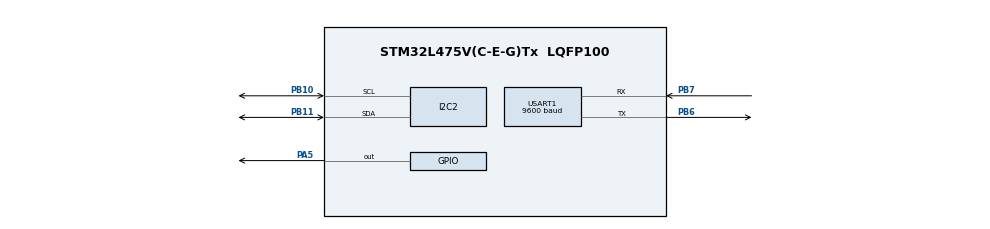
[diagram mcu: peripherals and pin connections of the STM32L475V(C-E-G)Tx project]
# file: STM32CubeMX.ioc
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I2C2.Timing=0x00100D14
Mcu.Family=STM32L4
Mcu.Name=STM32L475V(C-E-G)Tx
Mcu.Package=LQFP100
NVIC.PriorityGroup=NVIC_PRIORITYGROUP_4
PA5.Signal=GPIO_Output
PB10.Mode=I2C
PB10.Signal=I2C2_SCL
PB11.Mode=I2C
PB11.Signal=I2C2_SDA
PB6.Mode=Asynchronous
PB6.Signal=USART1_TX
PB7.Mode=Asynchronous
PB7.Signal=USART1_RX
ProjectManager.HeapSize=0x200
ProjectManager.StackSize=0x400
ProjectManager.TargetToolchain=MDK-ARM V5
RCC.HSE_VALUE=8000000
RCC.HSI_VALUE=16000000
RCC.LSE_VALUE=32768
RCC.MSI_VALUE=4000000
RCC.VCOOutputFreq_Value=32000000
USART1.BaudRate=9600
USART1.VirtualMode-Asynchronous=VM_ASYNC
board=custom

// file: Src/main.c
/* USER CODE BEGIN Header */
/**
  ******************************************************************************
  * @file           : main.c
  * @brief          : Main program body
  ******************************************************************************
  * @attention
  *
  * Copyright (c) 2025 STMicroelectronics.
  * All rights reserved.
  *
  * This software is licensed under terms that can be found in the LICENSE file
  * in the root directory of this software component.
  * If no LICENSE file comes with this software, it is provided AS-IS.
  *
  ******************************************************************************
  */
/* USER CODE END Header */
#include "main.h"

/* USER CODE BEGIN Includes */
#include "stdio.h"
#include "string.h"
/* USER CODE END Includes */

/* USER CODE BEGIN PD */
#define HTS221_ADDRESS 0xBE
#define HTS221_TEMP_OUT_L 0x2A  // Temperature output register (low byte)
#define HTS221_TEMP_OUT_H 0x2B  // Temperature output register (high byte)
#define HTS221_HUMID_OUT_L 0x28 // Hummidity output register (low byte)
#define HTS221_HUMID_OUT_H 0x29 // Hummidity output register (high byte)
#define HTS221_CTRL_REG1 0x20   // Control register for power on
#define HTS221_STATUS_REG 0x27  // Status register for data readiness

#define LPS22HB_ADDRESS 0xBA
#define LPS22HB_CTRL_REG1 0x10
#define LPS22HB_PRESS_OUT_XL 0x28
#define LPS22HB_PRESS_OUT_L 0x29
#define LPS22HB_PRESS_OUT_H 0x2A

#define LIS3MDL_ADDRESS 0x3C
#define LIS3MDL_CTRL_REG1 0x20 // Control register 1 for initialization
#define LIS3MDL_CTRL_REG2 0x21 // Control register 2 for sensitivity adjustment
#define LIS3MDL_CTRL_REG3 0x22 // Control register 3 for power mode
#define LIS3MDL_OUT_X_L 0x28   // X-axis magnetic field data (low byte)
#define LIS3MDL_OUT_X_H 0x29   // X-axis magnetic field data (high byte)
#define LIS3MDL_OUT_Y_L 0x2A   // Y-axis magnetic field data (low byte)
#define LIS3MDL_OUT_Y_H 0x2B   // Y-axis magnetic field data (high byte)
#define LIS3MDL_OUT_Z_L 0x2C   // Z-axis magnetic field data (low byte)
#define LIS3MDL_OUT_Z_H 0x2D   // Z-axis magnetic field data (high byte)

#define LSM6DSL_ADDRESS 0xD4
#define LSM6DSL_CTRL1_XL 0x10 // Control register for accelerometer
#define LSM6DSL_CTRL2_G  0x11 // Control register for gyroscope
#define LSM6DSL_OUTX_L_XL 0x28 // Accelerometer X-axis low byte
#define LSM6DSL_OUTX_H_XL 0x29 // Accelerometer X-axis high byte
#define LSM6DSL_OUTY_L_XL 0x2A // Accelerometer Y-axis low byte
#define LSM6DSL_OUTY_H_XL 0x2B // Accelerometer Y-axis high byte
#define LSM6DSL_OUTZ_L_XL 0x2C // Accelerometer Z-axis low byte
#define LSM6DSL_OUTZ_H_XL 0x2D // Accelerometer Z-axis high byte
#define LSM6DSL_OUTX_L_G  0x22 // Gyroscope X-axis low byte
#define LSM6DSL_OUTX_H_G  0x23 // Gyroscope X-axis high byte
#define LSM6DSL_OUTY_L_G  0x24 // Gyroscope Y-axis low byte
#define LSM6DSL_OUTY_H_G  0x25 // Gyroscope Y-axis high byte
#define LSM6DSL_OUTZ_L_G  0x26 // Gyroscope Z-axis low byte
#define LSM6DSL_OUTZ_H_G  0x27 // Gyroscope Z-axis high byte

float T0_degC, T1_degC;
int16_t T0_OUT, T1_OUT;
float H0_rH, H1_rH;
int16_t H0_T0_OUT, H1_T0_OUT;
/* USER CODE END PD */

I2C_HandleTypeDef hi2c2;

UART_HandleTypeDef huart1;

/* USER CODE BEGIN PV */
void HTS221_Init(void);
void LPS22HB_Init(void);
void LIS3MDL_init(void);
void LSM6DSL_init(void);
void HTS221_Read_Calibration(void);
void HTS221_Read_Temperature(void);
void HTS221_Read_Humidity(void);
void LPS22HB_Read_Pressure(void);
void LIS3MDL_Read_Magnetic_Field(void);
void LSM6DSL_Read_Accel_Gyro(void);
/* USER CODE END PV */

void SystemClock_Config(void);
static void MX_GPIO_Init(void);
static void MX_I2C2_Init(void);
static void MX_USART1_UART_Init(void);

int main(void)
{

  /* MCU Configuration--------------------------------------------------------*/

  /* Reset of all peripherals, Initializes the Flash interface and the Systick. */
  HAL_Init();

  /* Configure the system clock */
  SystemClock_Config();

  /* Initialize all configured peripherals */
  MX_GPIO_Init();
  MX_I2C2_Init();
  MX_USART1_UART_Init();
  /* USER CODE BEGIN 2 */
  HAL_Delay(1000);
  HTS221_Init();
  HTS221_Read_Calibration();
  LPS22HB_Init();
  LIS3MDL_init();
  LSM6DSL_init();
  /* USER CODE END 2 */

  /* Infinite loop */
  while (1)
  {
    HTS221_Read_Temperature();
    HTS221_Read_Humidity();
    LPS22HB_Read_Pressure();
    LIS3MDL_Read_Magnetic_Field();
    LSM6DSL_Read_Accel_Gyro();
    char separator[100];
    snprintf(separator, sizeof(separator), "==================================================================\n");
    HAL_UART_Transmit(&huart1, (uint8_t*)separator, strlen(separator), HAL_MAX_DELAY);
    HAL_Delay(3000);
  }
}

void SystemClock_Config(void)
{
  RCC_OscInitTypeDef RCC_OscInitStruct = {0};
  RCC_ClkInitTypeDef RCC_ClkInitStruct = {0};

  /** Configure the main internal regulator output voltage
  */
  if (HAL_PWREx_ControlVoltageScaling(PWR_REGULATOR_VOLTAGE_SCALE1) != HAL_OK)
  {
    Error_Handler();
  }

  /** Initializes the RCC Oscillators according to the specified parameters
  * in the RCC_OscInitTypeDef structure.
  */
  RCC_OscInitStruct.OscillatorType = RCC_OSCILLATORTYPE_MSI;
  RCC_OscInitStruct.MSIState = RCC_MSI_ON;
  RCC_OscInitStruct.MSICalibrationValue = 0;
  RCC_OscInitStruct.MSIClockRange = RCC_MSIRANGE_6;
  RCC_OscInitStruct.PLL.PLLState = RCC_PLL_NONE;
  if (HAL_RCC_OscConfig(&RCC_OscInitStruct) != HAL_OK)
  {
    Error_Handler();
  }

  /** Initializes the CPU, AHB and APB buses clocks
  */
  RCC_ClkInitStruct.ClockType = RCC_CLOCKTYPE_HCLK|RCC_CLOCKTYPE_SYSCLK
                              |RCC_CLOCKTYPE_PCLK1|RCC_CLOCKTYPE_PCLK2;
  RCC_ClkInitStruct.SYSCLKSource = RCC_SYSCLKSOURCE_MSI;
  RCC_ClkInitStruct.AHBCLKDivider = RCC_SYSCLK_DIV1;
  RCC_ClkInitStruct.APB1CLKDivider = RCC_HCLK_DIV1;
  RCC_ClkInitStruct.APB2CLKDivider = RCC_HCLK_DIV1;

  if (HAL_RCC_ClockConfig(&RCC_ClkInitStruct, FLASH_LATENCY_0) != HAL_OK)
  {
    Error_Handler();
  }
}

static void MX_I2C2_Init(void)
{

  hi2c2.Instance = I2C2;
  hi2c2.Init.Timing = 0x00100D14;
  hi2c2.Init.OwnAddress1 = 0;
  hi2c2.Init.AddressingMode = I2C_ADDRESSINGMODE_7BIT;
  hi2c2.Init.DualAddressMode = I2C_DUALADDRESS_DISABLE;
  hi2c2.Init.OwnAddress2 = 0;
  hi2c2.Init.OwnAddress2Masks = I2C_OA2_NOMASK;
  hi2c2.Init.GeneralCallMode = I2C_GENERALCALL_DISABLE;
  hi2c2.Init.NoStretchMode = I2C_NOSTRETCH_DISABLE;
  if (HAL_I2C_Init(&hi2c2) != HAL_OK)
  {
    Error_Handler();
  }

  /** Configure Analogue filter
  */
  if (HAL_I2CEx_ConfigAnalogFilter(&hi2c2, I2C_ANALOGFILTER_ENABLE) != HAL_OK)
  {
    Error_Handler();
  }

  /** Configure Digital filter
  */
  if (HAL_I2CEx_ConfigDigitalFilter(&hi2c2, 0) != HAL_OK)
  {
    Error_Handler();
  }

}

static void MX_USART1_UART_Init(void)
{

  huart1.Instance = USART1;
  huart1.Init.BaudRate = 9600;
  huart1.Init.WordLength = UART_WORDLENGTH_8B;
  huart1.Init.StopBits = UART_STOPBITS_1;
  huart1.Init.Parity = UART_PARITY_NONE;
  huart1.Init.Mode = UART_MODE_TX_RX;
  huart1.Init.HwFlowCtl = UART_HWCONTROL_NONE;
  huart1.Init.OverSampling = UART_OVERSAMPLING_16;
  huart1.Init.OneBitSampling = UART_ONE_BIT_SAMPLE_DISABLE;
  huart1.AdvancedInit.AdvFeatureInit = UART_ADVFEATURE_NO_INIT;
  if (HAL_UART_Init(&huart1) != HAL_OK)
  {
    Error_Handler();
  }

}

static void MX_GPIO_Init(void)
{
  GPIO_InitTypeDef GPIO_InitStruct = {0};

  /* GPIO Ports Clock Enable */
  __HAL_RCC_GPIOA_CLK_ENABLE();
  __HAL_RCC_GPIOB_CLK_ENABLE();

  /*Configure GPIO pin Output Level */
  HAL_GPIO_WritePin(GPIOA, GPIO_PIN_5, GPIO_PIN_RESET);

  /*Configure GPIO pin : PA5 */
  GPIO_InitStruct.Pin = GPIO_PIN_5;
  GPIO_InitStruct.Mode = GPIO_MODE_OUTPUT_PP;
  GPIO_InitStruct.Pull = GPIO_NOPULL;
  GPIO_InitStruct.Speed = GPIO_SPEED_FREQ_LOW;
  HAL_GPIO_Init(GPIOA, &GPIO_InitStruct);

/* USER CODE BEGIN MX_GPIO_Init_2 */
  __HAL_RCC_GPIOB_CLK_ENABLE();
  /* Configure UART pins PA9 (TX) and PA10 (RX) */
  GPIO_InitStruct.Pin = GPIO_PIN_6|GPIO_PIN_7;
  GPIO_InitStruct.Mode = GPIO_MODE_AF_PP;
  GPIO_InitStruct.Pull = GPIO_NOPULL;
  GPIO_InitStruct.Speed = GPIO_SPEED_FREQ_VERY_HIGH;
  GPIO_InitStruct.Alternate = GPIO_AF7_USART1;  // AF7 is for UART1
  HAL_GPIO_Init(GPIOB, &GPIO_InitStruct);

  GPIO_InitStruct.Pin = GPIO_PIN_10|GPIO_PIN_11;
  GPIO_InitStruct.Mode = GPIO_MODE_AF_OD;
  GPIO_InitStruct.Pull = GPIO_NOPULL;
  GPIO_InitStruct.Speed = GPIO_SPEED_FREQ_VERY_HIGH;
  HAL_GPIO_Init(GPIOB, &GPIO_InitStruct);
/* USER CODE END MX_GPIO_Init_2 */
}

/* USER CODE BEGIN 4 */
void HTS221_Init(void)
{
  uint8_t ctrl_reg1 = 0x87;  // Power on, BDU enabled, ODR set to 12.5Hz (0b10000111)
  if (HAL_I2C_Mem_Write(&hi2c2, HTS221_ADDRESS, HTS221_CTRL_REG1, 1, &ctrl_reg1, 1, HAL_MAX_DELAY) != HAL_OK) {
    char init_error[] = "HTS221 init failed\n";
    HAL_UART_Transmit(&huart1, (uint8_t*)init_error, strlen(init_error), HAL_MAX_DELAY);
  } else {
    char init_success[] = "HTS221 initialized\n";
    HAL_UART_Transmit(&huart1, (uint8_t*)init_success, strlen(init_success), HAL_MAX_DELAY);
  }
}

void LPS22HB_Init(void)
{
  uint8_t ctrl_reg1 = 0x50;  // Set to active mode, ODR 1 Hz
  if (HAL_I2C_Mem_Write(&hi2c2, LPS22HB_ADDRESS, LPS22HB_CTRL_REG1, 1, &ctrl_reg1, 1, HAL_MAX_DELAY) != HAL_OK) {
    char init_error[] = "LPS22HB init failed\n";
    HAL_UART_Transmit(&huart1, (uint8_t*)init_error, strlen(init_error), HAL_MAX_DELAY);
  } else {
    char init_success[] = "LPS22HB initialized\n";
    HAL_UART_Transmit(&huart1, (uint8_t*)init_success, strlen(init_success), HAL_MAX_DELAY);
  }
}

void LIS3MDL_init(void)
{
  uint8_t config1 = 0x70; // CTRL_REG1: Temperature sensor enabled, ODR = 10 Hz, XY-axis in ultra-high-performance mode
  uint8_t config2 = 0x00; // CTRL_REG2: Set full scale to ±4 gauss
  uint8_t config3 = 0x00; // CTRL_REG3: Continuous-conversion mode

    // Write to control registers
  HAL_I2C_Mem_Write(&hi2c2, LIS3MDL_ADDRESS, LIS3MDL_CTRL_REG1, I2C_MEMADD_SIZE_8BIT, &config1, 1, HAL_MAX_DELAY);
  HAL_I2C_Mem_Write(&hi2c2, LIS3MDL_ADDRESS, LIS3MDL_CTRL_REG2, I2C_MEMADD_SIZE_8BIT, &config2, 1, HAL_MAX_DELAY);
  HAL_I2C_Mem_Write(&hi2c2, LIS3MDL_ADDRESS, LIS3MDL_CTRL_REG3, I2C_MEMADD_SIZE_8BIT, &config3, 1, HAL_MAX_DELAY);

  char init_success[] = "LIS3MDL initialized\n";
  HAL_UART_Transmit(&huart1, (uint8_t*)init_success, strlen(init_success), HAL_MAX_DELAY);
}

void LSM6DSL_init(void)
{
  uint8_t config_accel = 0x60; // CTRL1_XL: ODR = 416 Hz, Full-scale = ±2g, BW = 100 Hz
  uint8_t config_gyro = 0x60;  // CTRL2_G: ODR = 416 Hz, Full-scale = 2000 dps

    // Write to accelerometer control register
  HAL_I2C_Mem_Write(&hi2c2, LSM6DSL_ADDRESS, LSM6DSL_CTRL1_XL, I2C_MEMADD_SIZE_8BIT, &config_accel, 1, HAL_MAX_DELAY);

    // Write to gyroscope control register
  HAL_I2C_Mem_Write(&hi2c2, LSM6DSL_ADDRESS, LSM6DSL_CTRL2_G, I2C_MEMADD_SIZE_8BIT, &config_gyro, 1, HAL_MAX_DELAY);

  char init_success[] = "LSM6DSL initialized\n";
  HAL_UART_Transmit(&huart1, (uint8_t*)init_success, strlen(init_success), HAL_MAX_DELAY);
}

void HTS221_Read_Calibration(void)
{
  uint8_t T0_degC_x8, T1_degC_x8;
  uint8_t T0_T1_msb;
  uint8_t T0_OUT_L, T0_OUT_H, T1_OUT_L, T1_OUT_H;
  uint8_t H0_rH_x2, H1_rH_x2;
  uint8_t H0_T0_OUT_L, H0_T0_OUT_H, H1_T0_OUT_L, H1_T0_OUT_H;

  // Retrieve temperature calibration values
  HAL_I2C_Mem_Read(&hi2c2, HTS221_ADDRESS, 0x32, 1, &T0_degC_x8, 1, HAL_MAX_DELAY);
  HAL_I2C_Mem_Read(&hi2c2, HTS221_ADDRESS, 0x33, 1, &T1_degC_x8, 1, HAL_MAX_DELAY);
  HAL_I2C_Mem_Read(&hi2c2, HTS221_ADDRESS, 0x35, 1, &T0_T1_msb, 1, HAL_MAX_DELAY);

  T0_degC = ((T0_T1_msb & 0x03) << 8 | T0_degC_x8) / 8.0;
  T1_degC = ((T0_T1_msb & 0x0C) << 6 | T1_degC_x8) / 8.0;

  HAL_I2C_Mem_Read(&hi2c2, HTS221_ADDRESS, 0x3C, 1, &T0_OUT_L, 1, HAL_MAX_DELAY);
  HAL_I2C_Mem_Read(&hi2c2, HTS221_ADDRESS, 0x3D, 1, &T0_OUT_H, 1, HAL_MAX_DELAY);
  T0_OUT = (int16_t)((T0_OUT_H << 8) | T0_OUT_L);

  HAL_I2C_Mem_Read(&hi2c2, HTS221_ADDRESS, 0x3E, 1, &T1_OUT_L, 1, HAL_MAX_DELAY);
  HAL_I2C_Mem_Read(&hi2c2, HTS221_ADDRESS, 0x3F, 1, &T1_OUT_H, 1, HAL_MAX_DELAY);
  T1_OUT = (int16_t)((T1_OUT_H << 8) | T1_OUT_L);

    // Retrieve humidity calibration values
  HAL_I2C_Mem_Read(&hi2c2, HTS221_ADDRESS, 0x30, 1, &H0_rH_x2, 1, HAL_MAX_DELAY);
  HAL_I2C_Mem_Read(&hi2c2, HTS221_ADDRESS, 0x31, 1, &H1_rH_x2, 1, HAL_MAX_DELAY);

  H0_rH = H0_rH_x2 / 2.0;
  H1_rH = H1_rH_x2 / 2.0;

  HAL_I2C_Mem_Read(&hi2c2, HTS221_ADDRESS, 0x36, 1, &H0_T0_OUT_L, 1, HAL_MAX_DELAY);
  HAL_I2C_Mem_Read(&hi2c2, HTS221_ADDRESS, 0x37, 1, &H0_T0_OUT_H, 1, HAL_MAX_DELAY);
  H0_T0_OUT = (int16_t)((H0_T0_OUT_H << 8) | H0_T0_OUT_L);

  HAL_I2C_Mem_Read(&hi2c2, HTS221_ADDRESS, 0x3A, 1, &H1_T0_OUT_L, 1, HAL_MAX_DELAY);
  HAL_I2C_Mem_Read(&hi2c2, HTS221_ADDRESS, 0x3B, 1, &H1_T0_OUT_H, 1, HAL_MAX_DELAY);
  H1_T0_OUT = (int16_t)((H1_T0_OUT_H << 8) | H1_T0_OUT_L);

    // Print calibration values
  char calibration_message[100];
  snprintf(calibration_message, sizeof(calibration_message), "T0: %.2f, T1: %.2f, H0: %.2f, H1: %.2f\n",
  T0_degC, T1_degC, H0_rH, H1_rH);
  HAL_UART_Transmit(&huart1, (uint8_t*)calibration_message, strlen(calibration_message), HAL_MAX_DELAY);
}

void HTS221_Read_Temperature(void)
{
  uint8_t status_reg = 0;
  HAL_I2C_Mem_Read(&hi2c2, HTS221_ADDRESS, HTS221_STATUS_REG, 1, &status_reg, 1, HAL_MAX_DELAY);

  if (!(status_reg & 0x01)) {
    char status_message[] = "Temperature data not ready\n";
    HAL_UART_Transmit(&huart1, (uint8_t*)status_message, strlen(status_message), HAL_MAX_DELAY);
    return;
  }

  uint8_t temp_out_l = 0, temp_out_h = 0;
  int16_t temp_raw = 0;

  HAL_I2C_Mem_Read(&hi2c2, HTS221_ADDRESS, HTS221_TEMP_OUT_L, 1, &temp_out_l, 1, HAL_MAX_DELAY);
  HAL_I2C_Mem_Read(&hi2c2, HTS221_ADDRESS, HTS221_TEMP_OUT_H, 1, &temp_out_h, 1, HAL_MAX_DELAY);

  temp_raw = ((int16_t)temp_out_h << 8) | temp_out_l;

    // Apply calibration formula and manual offset
  float temperature_celsius = T0_degC + ((float)(temp_raw - T0_OUT) / (T1_OUT - T0_OUT)) * (T1_degC - T0_degC);
  temperature_celsius -= 5.0;  // Adjust to correct for observed offset

  char debug_message[50];
  snprintf(debug_message, sizeof(debug_message), "Temperature: %.2f degC\n", temperature_celsius);
  HAL_UART_Transmit(&huart1, (uint8_t*)debug_message, strlen(debug_message), HAL_MAX_DELAY);
}

void HTS221_Read_Humidity(void)
{
  uint8_t status_reg = 0;
  HAL_I2C_Mem_Read(&hi2c2, HTS221_ADDRESS, HTS221_STATUS_REG, 1, &status_reg, 1, HAL_MAX_DELAY);

  if (!(status_reg & 0x02)) {
    char status_message[] = "Humidity data not ready\n";
    HAL_UART_Transmit(&huart1, (uint8_t*)status_message, strlen(status_message), HAL_MAX_DELAY);
    return;
  }

  uint8_t hum_out_l = 0, hum_out_h = 0;
  int16_t hum_raw = 0;

  HAL_I2C_Mem_Read(&hi2c2, HTS221_ADDRESS, HTS221_HUMID_OUT_L, 1, &hum_out_l, 1, HAL_MAX_DELAY);
  HAL_I2C_Mem_Read(&hi2c2, HTS221_ADDRESS, HTS221_HUMID_OUT_H, 1, &hum_out_h, 1, HAL_MAX_DELAY);

  hum_raw = ((int16_t)hum_out_h << 8) | hum_out_l;

    // Convert raw humidity to percentage
  float humidity_percentage = H0_rH + ((float)(hum_raw - H0_T0_OUT) * (H1_rH - H0_rH)) / (H1_T0_OUT - H0_T0_OUT);

    // Print the humidity value
  char debug_message[50];
  snprintf(debug_message, sizeof(debug_message), "Humidity: %.2f %%RH\n", humidity_percentage);
  HAL_UART_Transmit(&huart1, (uint8_t*)debug_message, strlen(debug_message), HAL_MAX_DELAY);
}

void LPS22HB_Read_Pressure(void)
{
  uint8_t press_out_xl, press_out_l, press_out_h;
  int32_t press_raw = 0;

  HAL_I2C_Mem_Read(&hi2c2, LPS22HB_ADDRESS, LPS22HB_PRESS_OUT_XL, 1, &press_out_xl, 1, HAL_MAX_DELAY);
  HAL_I2C_Mem_Read(&hi2c2, LPS22HB_ADDRESS, LPS22HB_PRESS_OUT_L, 1, &press_out_l, 1, HAL_MAX_DELAY);
  HAL_I2C_Mem_Read(&hi2c2, LPS22HB_ADDRESS, LPS22HB_PRESS_OUT_H, 1, &press_out_h, 1, HAL_MAX_DELAY);

    // Combine bytes into 24-bit raw pressure value
  press_raw = ((int32_t)press_out_h << 16) | ((int32_t)press_out_l << 8) | press_out_xl;

    // Convert raw pressure to hPa
  float pressure_hPa = press_raw / 4096.0;

    // Print the pressure value
  char debug_message[50];
  snprintf(debug_message, sizeof(debug_message), "Pressure: %.2f hPa\n", pressure_hPa);
  HAL_UART_Transmit(&huart1, (uint8_t*)debug_message, strlen(debug_message), HAL_MAX_DELAY);
}

void LIS3MDL_Read_Magnetic_Field(void)
{
  uint8_t mag_x_l, mag_x_h, mag_y_l, mag_y_h, mag_z_l, mag_z_h;
  int16_t mag_x, mag_y, mag_z;

    // Read X-axis magnetic field data
  HAL_I2C_Mem_Read(&hi2c2, LIS3MDL_ADDRESS, LIS3MDL_OUT_X_L, 1, &mag_x_l, 1, HAL_MAX_DELAY);
  HAL_I2C_Mem_Read(&hi2c2, LIS3MDL_ADDRESS, LIS3MDL_OUT_X_H, 1, &mag_x_h, 1, HAL_MAX_DELAY);

    // Read Y-axis magnetic field data
  HAL_I2C_Mem_Read(&hi2c2, LIS3MDL_ADDRESS, LIS3MDL_OUT_Y_L, 1, &mag_y_l, 1, HAL_MAX_DELAY);
  HAL_I2C_Mem_Read(&hi2c2, LIS3MDL_ADDRESS, LIS3MDL_OUT_Y_H, 1, &mag_y_h, 1, HAL_MAX_DELAY);

    // Read Z-axis magnetic field data
  HAL_I2C_Mem_Read(&hi2c2, LIS3MDL_ADDRESS, LIS3MDL_OUT_Z_L, 1, &mag_z_l, 1, HAL_MAX_DELAY);
  HAL_I2C_Mem_Read(&hi2c2, LIS3MDL_ADDRESS, LIS3MDL_OUT_Z_H, 1, &mag_z_h, 1, HAL_MAX_DELAY);

    // Combine high and low bytes
  mag_x = (int16_t)(mag_x_h << 8 | mag_x_l);
  mag_y = (int16_t)(mag_y_h << 8 | mag_y_l);
  mag_z = (int16_t)(mag_z_h << 8 | mag_z_l);

    // Print the magnetic field values
  char debug_message[80];
  snprintf(debug_message, sizeof(debug_message), "Magnetic Field - X: %d, Y: %d, Z: %d\n", mag_x, mag_y, mag_z);
  HAL_UART_Transmit(&huart1, (uint8_t*)debug_message, strlen(debug_message), HAL_MAX_DELAY);
}

void LSM6DSL_Read_Accel_Gyro(void)
{
  uint8_t accel_x_l, accel_x_h, accel_y_l, accel_y_h, accel_z_l, accel_z_h;
  uint8_t gyro_x_l, gyro_x_h, gyro_y_l, gyro_y_h, gyro_z_l, gyro_z_h;
  int16_t accel_x, accel_y, accel_z;
  int16_t gyro_x, gyro_y, gyro_z;

    // Read accelerometer data
  HAL_I2C_Mem_Read(&hi2c2, LSM6DSL_ADDRESS, LSM6DSL_OUTX_L_XL, 1, &accel_x_l, 1, HAL_MAX_DELAY);
  HAL_I2C_Mem_Read(&hi2c2, LSM6DSL_ADDRESS, LSM6DSL_OUTX_H_XL, 1, &accel_x_h, 1, HAL_MAX_DELAY);
  HAL_I2C_Mem_Read(&hi2c2, LSM6DSL_ADDRESS, LSM6DSL_OUTY_L_XL, 1, &accel_y_l, 1, HAL_MAX_DELAY);
  HAL_I2C_Mem_Read(&hi2c2, LSM6DSL_ADDRESS, LSM6DSL_OUTY_H_XL, 1, &accel_y_h, 1, HAL_MAX_DELAY);
  HAL_I2C_Mem_Read(&hi2c2, LSM6DSL_ADDRESS, LSM6DSL_OUTZ_L_XL, 1, &accel_z_l, 1, HAL_MAX_DELAY);
  HAL_I2C_Mem_Read(&hi2c2, LSM6DSL_ADDRESS, LSM6DSL_OUTZ_H_XL, 1, &accel_z_h, 1, HAL_MAX_DELAY);

    // Combine high and low bytes
  accel_x = (int16_t)(accel_x_h << 8 | accel_x_l);
  accel_y = (int16_t)(accel_y_h << 8 | accel_y_l);
  accel_z = (int16_t)(accel_z_h << 8 | accel_z_l);

    // Read gyroscope data
  HAL_I2C_Mem_Read(&hi2c2, LSM6DSL_ADDRESS, LSM6DSL_OUTX_L_G, 1, &gyro_x_l, 1, HAL_MAX_DELAY);
  HAL_I2C_Mem_Read(&hi2c2, LSM6DSL_ADDRESS, LSM6DSL_OUTX_H_G, 1, &gyro_x_h, 1, HAL_MAX_DELAY);
  HAL_I2C_Mem_Read(&hi2c2, LSM6DSL_ADDRESS, LSM6DSL_OUTY_L_G, 1, &gyro_y_l, 1, HAL_MAX_DELAY);
  HAL_I2C_Mem_Read(&hi2c2, LSM6DSL_ADDRESS, LSM6DSL_OUTY_H_G, 1, &gyro_y_h, 1, HAL_MAX_DELAY);
  HAL_I2C_Mem_Read(&hi2c2, LSM6DSL_ADDRESS, LSM6DSL_OUTZ_L_G, 1, &gyro_z_l, 1, HAL_MAX_DELAY);
  HAL_I2C_Mem_Read(&hi2c2, LSM6DSL_ADDRESS, LSM6DSL_OUTZ_H_G, 1, &gyro_z_h, 1, HAL_MAX_DELAY);

    // Combine high and low bytes
  gyro_x = (int16_t)(gyro_x_h << 8 | gyro_x_l);
  gyro_y = (int16_t)(gyro_y_h << 8 | gyro_y_l);
  gyro_z = (int16_t)(gyro_z_h << 8 | gyro_z_l);

    // Print accelerometer and gyroscope data
  char debug_message[100];
  snprintf(debug_message, sizeof(debug_message), "Accel - X: %d, Y: %d, Z: %d | Gyro - X: %d, Y: %d, Z: %d\n", accel_x, accel_y, accel_z, gyro_x, gyro_y, gyro_z);
  HAL_UART_Transmit(&huart1, (uint8_t*)debug_message, strlen(debug_message), HAL_MAX_DELAY);
}
/* USER CODE END 4 */

void Error_Handler(void)
{
  __disable_irq();
  while (1)
  {
  }
}
